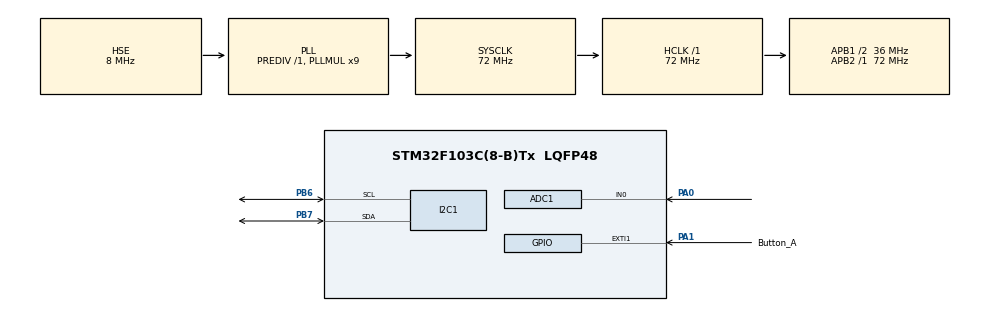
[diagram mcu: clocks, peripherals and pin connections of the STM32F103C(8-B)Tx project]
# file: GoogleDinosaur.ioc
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ADC1.Channel-0\#ChannelRegularConversion=ADC_CHANNEL_0
ADC1.NbrOfConversionFlag=1
ADC1.Rank-0\#ChannelRegularConversion=1
ADC1.SamplingTime-0\#ChannelRegularConversion=ADC_SAMPLETIME_1CYCLE_5
ADC1.master=1
Dma.I2C1_TX.0.Direction=DMA_MEMORY_TO_PERIPH
Dma.I2C1_TX.0.Instance=DMA1_Channel6
Dma.I2C1_TX.0.MemDataAlignment=DMA_MDATAALIGN_BYTE
Dma.I2C1_TX.0.MemInc=DMA_MINC_ENABLE
Dma.I2C1_TX.0.Mode=DMA_NORMAL
Dma.I2C1_TX.0.PeriphDataAlignment=DMA_PDATAALIGN_BYTE
Dma.I2C1_TX.0.PeriphInc=DMA_PINC_DISABLE
Dma.I2C1_TX.0.Priority=DMA_PRIORITY_VERY_HIGH
Dma.Request0=I2C1_TX
I2C1.I2C_Mode=I2C_Fast
Mcu.Family=STM32F1
Mcu.Name=STM32F103C(8-B)Tx
Mcu.Package=LQFP48
NVIC.DMA1_Channel6_IRQn=true\:0\:0\:true\:false\:true\:false\:true\:true
NVIC.EXTI1_IRQn=true\:0\:0\:false\:false\:true\:true\:true\:true
NVIC.I2C1_EV_IRQn=true\:1\:0\:true\:false\:true\:true\:true\:true
NVIC.PriorityGroup=NVIC_PRIORITYGROUP_4
NVIC.TIM2_IRQn=true\:0\:0\:true\:false\:true\:true\:true\:true
NVIC.TIM3_IRQn=true\:0\:0\:false\:false\:true\:true\:true\:true
PA0-WKUP.Signal=ADCx_IN0
PA1.GPIO_Label=Button_A
PA1.GPIO_ModeDefaultEXTI=GPIO_MODE_IT_RISING
PA1.GPIO_PuPd=GPIO_PULLDOWN
PA1.Signal=GPXTI1
PA13.Mode=Serial_Wire
PA13.Signal=SYS_JTMS-SWDIO
PA14.Mode=Serial_Wire
PA14.Signal=SYS_JTCK-SWCLK
PB6.Mode=I2C
PB6.Signal=I2C1_SCL
PB7.Mode=I2C
PB7.Signal=I2C1_SDA
PD0-OSC_IN.Mode=HSE-External-Oscillator
PD0-OSC_IN.Signal=RCC_OSC_IN
PD1-OSC_OUT.Mode=HSE-External-Oscillator
PD1-OSC_OUT.Signal=RCC_OSC_OUT
ProjectManager.HeapSize=0x200
ProjectManager.StackSize=0x400
ProjectManager.TargetToolchain=STM32CubeIDE
RCC.ADCPresc=RCC_ADCPCLK2_DIV6
RCC.AHBFreq_Value=72000000
RCC.APB1CLKDivider=RCC_HCLK_DIV2
RCC.APB1Freq_Value=36000000
RCC.APB1TimFreq_Value=72000000
RCC.APB2Freq_Value=72000000
RCC.APB2TimFreq_Value=72000000
RCC.HCLKFreq_Value=72000000
RCC.PLLMUL=RCC_PLL_MUL9
RCC.PLLSourceVirtual=RCC_PLLSOURCE_HSE
RCC.SYSCLKFreq_VALUE=72000000
RCC.SYSCLKSource=RCC_SYSCLKSOURCE_PLLCLK
RCC.USBFreq_Value=72000000
SH.ADCx_IN0.0=ADC1_IN0,IN0
TIM2.AutoReloadPreload=TIM_AUTORELOAD_PRELOAD_ENABLE
TIM2.CounterMode=TIM_COUNTERMODE_UP
TIM2.Period=1500-1
TIM2.Prescaler=720-1
TIM3.Period=5000-1
TIM3.Prescaler=7200-1
VP_TIM2_VS_ClockSourceINT.Mode=Internal
VP_TIM3_VS_ClockSourceINT.Mode=Internal
board=custom

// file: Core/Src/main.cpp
/* USER CODE BEGIN Header */
/**
  ******************************************************************************
  * @file           : main.c
  * @brief          : Main program body
  ******************************************************************************
  * @attention
  *
  * Copyright (c) 2024 STMicroelectronics.
  * All rights reserved.
  *
  * This software is licensed under terms that can be found in the LICENSE file
  * in the root directory of this software component.
  * If no LICENSE file comes with this software, it is provided AS-IS.
  *
  ******************************************************************************
  */
/* USER CODE END Header */
#include "main.h"
#include "adc.h"
#include "dma.h"
#include "i2c.h"
#include "tim.h"
#include "gpio.h"

/* USER CODE BEGIN Includes */
#include "logic_core.hpp"
#include "delay.h"
/* USER CODE END Includes */

/* USER CODE BEGIN PV */
LogicCore *core;
KeyBoard *keyboard;

bool shouldCheck = false;
bool shouldRefresh = false;

/* USER CODE END PV */

void SystemClock_Config(void);

/* USER CODE BEGIN 0 */

void HAL_TIM_PeriodElapsedCallback(TIM_HandleTypeDef *htim){
	if(htim->Instance == TIM2){
		shouldRefresh = true;
	}

	if(htim->Instance == TIM3){
		shouldCheck = true;
		core->updateFrameRate();
		core->updateTotalScore();
	}
}

void HAL_GPIO_EXTI_Callback(uint16_t GPIO_Pin){
	if(GPIO_Pin == Button_A_Pin){
		delayUSecs(20);
		if(HAL_GPIO_ReadPin(Button_A_GPIO_Port, Button_A_Pin) == GPIO_PIN_SET){
			keyboard->keyPressed(KEY_BOARD_A);
		}
	}
}

/* USER CODE END 0 */

int main(void)
{

  /* MCU Configuration--------------------------------------------------------*/

  /* Reset of all peripherals, Initializes the Flash interface and the Systick. */
  HAL_Init();

  /* Configure the system clock */
  SystemClock_Config();

  /* Initialize all configured peripherals */
  MX_GPIO_Init();
  MX_DMA_Init();
  MX_I2C1_Init();
  MX_TIM2_Init();
  MX_ADC1_Init();
  MX_TIM3_Init();
  /* USER CODE BEGIN 2 */
  keyboard = new KeyBoard();
  core = new LogicCore(keyboard);
  initDelay();
  /* USER CODE END 2 */

  /* Infinite loop */
  /* USER CODE BEGIN WHILE */

  HAL_TIM_Base_Start_IT(&htim2);
  HAL_TIM_Base_Start_IT(&htim3);
  while (1)
  {
	  if(shouldRefresh){
		  core->renewAll();
		  core->clrScreen();
		  core->drawAll();
		  core->refreshScreen();
		  shouldRefresh = false;
	  }

	  if(shouldCheck){
		  core->checkAll();
		  shouldCheck = false;
	  }
    /* USER CODE END WHILE */

  }
}

void SystemClock_Config(void)
{
  RCC_OscInitTypeDef RCC_OscInitStruct = {0};
  RCC_ClkInitTypeDef RCC_ClkInitStruct = {0};
  RCC_PeriphCLKInitTypeDef PeriphClkInit = {0};

  /** Initializes the RCC Oscillators according to the specified parameters
  * in the RCC_OscInitTypeDef structure.
  */
  RCC_OscInitStruct.OscillatorType = RCC_OSCILLATORTYPE_HSE;
  RCC_OscInitStruct.HSEState = RCC_HSE_ON;
  RCC_OscInitStruct.HSEPredivValue = RCC_HSE_PREDIV_DIV1;
  RCC_OscInitStruct.HSIState = RCC_HSI_ON;
  RCC_OscInitStruct.PLL.PLLState = RCC_PLL_ON;
  RCC_OscInitStruct.PLL.PLLSource = RCC_PLLSOURCE_HSE;
  RCC_OscInitStruct.PLL.PLLMUL = RCC_PLL_MUL9;
  if (HAL_RCC_OscConfig(&RCC_OscInitStruct) != HAL_OK)
  {
    Error_Handler();
  }

  /** Initializes the CPU, AHB and APB buses clocks
  */
  RCC_ClkInitStruct.ClockType = RCC_CLOCKTYPE_HCLK|RCC_CLOCKTYPE_SYSCLK
                              |RCC_CLOCKTYPE_PCLK1|RCC_CLOCKTYPE_PCLK2;
  RCC_ClkInitStruct.SYSCLKSource = RCC_SYSCLKSOURCE_PLLCLK;
  RCC_ClkInitStruct.AHBCLKDivider = RCC_SYSCLK_DIV1;
  RCC_ClkInitStruct.APB1CLKDivider = RCC_HCLK_DIV2;
  RCC_ClkInitStruct.APB2CLKDivider = RCC_HCLK_DIV1;

  if (HAL_RCC_ClockConfig(&RCC_ClkInitStruct, FLASH_LATENCY_2) != HAL_OK)
  {
    Error_Handler();
  }
  PeriphClkInit.PeriphClockSelection = RCC_PERIPHCLK_ADC;
  PeriphClkInit.AdcClockSelection = RCC_ADCPCLK2_DIV6;
  if (HAL_RCCEx_PeriphCLKConfig(&PeriphClkInit) != HAL_OK)
  {
    Error_Handler();
  }
}

void Error_Handler(void)
{
  __disable_irq();
  while (1)
  {
  }
}
